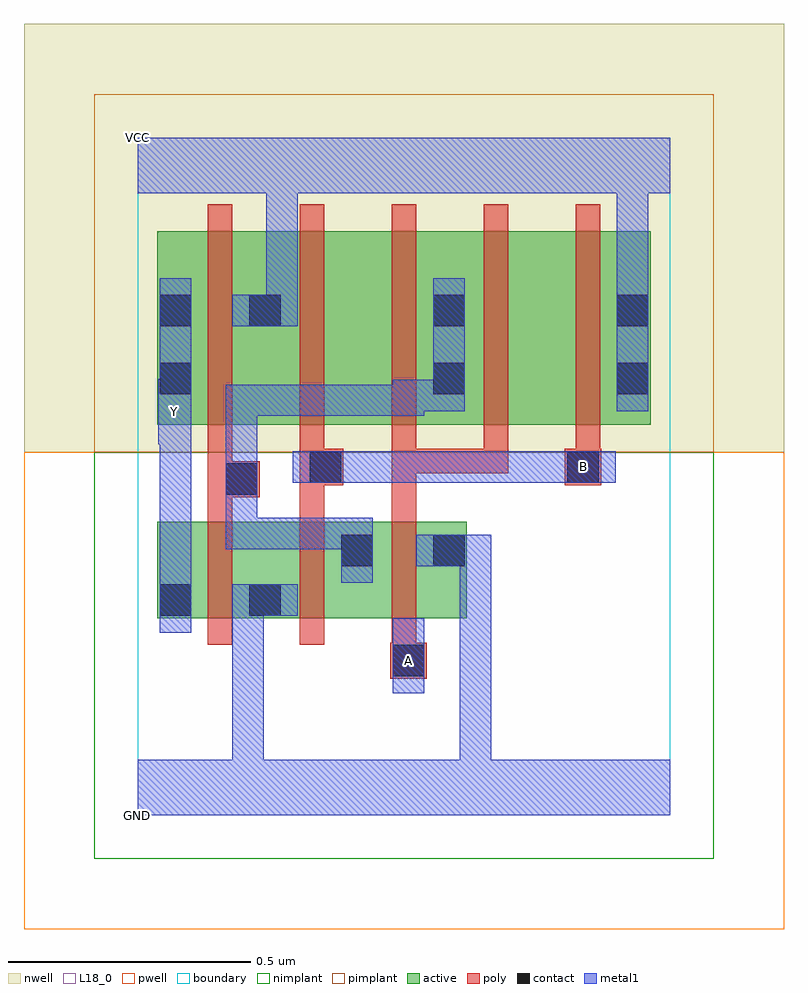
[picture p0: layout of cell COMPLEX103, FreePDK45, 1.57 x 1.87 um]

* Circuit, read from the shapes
.subckt COMPLEX103 A B GND VCC Y
M1 GND n1 Y VSUBS nfet w=0.2u l=0.05u
M2 n1 B GND VSUBS nfet w=0.2u l=0.05u
M3 GND A n1 VSUBS nfet w=0.2u l=0.05u
M4 VCC n1 Y n2 pfet w=0.4u l=0.05u
M5 n3 B VCC n2 pfet w=0.4u l=0.05u
M6 n1 A n3 n2 pfet w=0.4u l=0.05u
M7 n4 A n1 n2 pfet w=0.4u l=0.05u
M8 VCC B n4 n2 pfet w=0.4u l=0.05u
.ends

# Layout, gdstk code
import gdstk
lib = gdstk.Library(unit=1e-6, precision=1e-09)
def R(c, l, rs):  # rectangles x0, y0, x1, y1
    for r in rs: c.add(gdstk.rectangle(r[:2], r[2:], *l))
def A(c, l, x, y, w, h, nx, ny, dx, dy):  # array of equal rectangles
    R(c, l, [(x+i*dx, y+j*dy, x+i*dx+w, y+j*dy+h) for i in range(nx) for j in range(ny)])
active = (1, 0)
pwell = (2, 0)
nwell = (3, 0)
nimplant = (4, 0)
pimplant = (5, 0)
poly = (9, 0)
contact = (10, 0)
metal1 = (11, 0)
L18_0 = (18, 0)
boundary = (235, 0)

complex103 = lib.new_cell('COMPLEX103')
R(complex103, active, [(0.04,0.407,0.115,0.607), (0.04,0.407,0.3,0.607), (0.225,0.407,0.49,0.607), (0.225,0.407,0.3,0.597), (0.415,0.407,0.49,0.607), (0.415,0.407,0.68,0.607), (0.605,0.407,0.68,0.607), (0.04,0.807,0.115,1.2), (0.04,0.807,0.3,1.207), (0.225,0.807,0.3,1.207), (0.225,0.807,0.455,1.207), (0.455,0.807,0.68,1.207), (0.605,0.807,0.835,1.207), (0.605,0.807,0.68,1.2), (0.835,0.807,1.06,1.207), (0.985,0.807,1.06,1.207)])
R(complex103, pwell, [(-0.235,-0.235,1.335,0.75)])
R(complex103, nwell, [(-0.235,0.75,1.335,1.635)])
R(complex103, nimplant, [(-0.09,-0.09,1.19,0.75)])
R(complex103, pimplant, [(-0.09,0.75,1.19,1.49)])
A(complex103, poly, 0.145, 0.352, 0.05, 0.31, 3, 1, 0.19, 0)
A(complex103, poly, 0.335, 0.707, 0.05, 0.095, 4, 1, 0.19, 0)
A(complex103, poly, 0.145, 0.752, 0.05, 0.51, 5, 1, 0.19, 0)
R(complex103, poly, [(0.522,0.282,0.597,0.357), (0.525,0.307,0.575,0.402), (0.145,0.612,0.195,0.707), (0.335,0.612,0.385,0.732), (0.525,0.612,0.575,0.757), (0.145,0.657,0.252,0.732), (0.145,0.682,0.195,0.802), (0.335,0.682,0.425,0.757), (0.882,0.682,0.957,0.757), (0.525,0.707,0.765,0.757), (0.525,0.707,0.575,0.757), (0.525,0.707,0.575,0.757), (0.525,0.707,0.575,0.757), (0.715,0.707,0.765,0.757)])
A(complex103, contact, 0.23, 1.01, 0.065, 0.065, 3, 1, 0.38, 0)
R(complex103, contact, [(0.527,0.287,0.592,0.352), (0.045,0.412,0.11,0.477), (0.23,0.412,0.295,0.477), (0.42,0.515,0.485,0.58), (0.61,0.515,0.675,0.58), (0.182,0.662,0.247,0.727), (0.355,0.687,0.42,0.752), (0.887,0.687,0.952,0.752), (0.045,0.87,0.11,0.935), (0.61,0.87,0.675,0.935), (0.99,0.87,1.055,0.935), (0.045,1.01,0.11,1.075)])
R(complex103, metal1, [(0,0,1.1,0.115), (0.195,0.05,0.26,0.115), (0.195,0.05,0.26,0.115), (0.195,0.05,0.26,0.115), (0.195,0.05,0.26,0.115), (0.195,0.05,0.26,0.115), (0.195,0.05,0.26,0.115), (0.195,0.05,0.26,0.477), (0.665,0.05,0.73,0.115), (0.665,0.05,0.73,0.115), (0.665,0.05,0.73,0.477), (0.527,0.252,0.592,0.407), (0.045,0.377,0.11,0.512), (0.195,0.412,0.33,0.477), (0.665,0.412,0.73,0.477), (0.665,0.412,0.73,0.477), (0.665,0.412,0.73,0.477), (0.665,0.412,0.73,0.58), (0.045,0.447,0.11,0.832), (0.42,0.48,0.485,0.615), (0.575,0.515,0.73,0.58), (0.182,0.55,0.247,0.615), (0.182,0.55,0.397,0.615), (0.182,0.55,0.247,0.692), (0.332,0.55,0.397,0.615), (0.332,0.55,0.485,0.615), (0.182,0.627,0.247,0.692), (0.182,0.627,0.247,0.692), (0.182,0.627,0.247,0.762), (0.182,0.627,0.247,0.89), (0.32,0.687,0.455,0.752), (0.39,0.687,0.455,0.752), (0.39,0.687,0.455,0.752), (0.39,0.687,0.592,0.752), (0.527,0.687,0.592,0.752), (0.527,0.687,0.592,0.752), (0.527,0.687,0.592,0.752), (0.527,0.687,0.73,0.752), (0.665,0.687,0.917,0.752), (0.665,0.687,0.73,0.752), (0.665,0.687,0.73,0.752), (0.665,0.687,0.73,0.752), (0.852,0.687,0.987,0.752), (0.042,0.767,0.11,0.902), (0.182,0.825,0.247,0.89), (0.182,0.825,0.455,0.89), (0.39,0.825,0.455,0.89), (0.39,0.825,0.455,0.89), (0.39,0.825,0.455,0.89), (0.39,0.825,0.592,0.89), (0.527,0.825,0.592,0.9), (0.045,0.835,0.11,1.11), (0.045,0.835,0.11,0.9), (0.527,0.835,0.675,0.9), (0.61,0.835,0.675,1.11), (0.99,0.835,1.055,1.11), (0.195,1.01,0.33,1.075), (0.265,1.01,0.33,1.35), (0.99,1.045,1.055,1.35), (0,1.285,1.1,1.4)])
R(complex103, L18_0, [(0,0,1.1,0.115), (0.195,0.05,0.26,0.115), (0.195,0.05,0.26,0.115), (0.195,0.05,0.26,0.115), (0.195,0.05,0.26,0.115), (0.195,0.05,0.26,0.115), (0.195,0.05,0.26,0.115), (0.195,0.05,0.26,0.477), (0.665,0.05,0.73,0.115), (0.665,0.05,0.73,0.115), (0.665,0.05,0.73,0.477), (0.527,0.252,0.592,0.407), (0.527,0.287,0.592,0.352), (0.045,0.377,0.11,0.512), (0.195,0.412,0.33,0.477), (0.665,0.412,0.73,0.477), (0.665,0.412,0.73,0.477), (0.665,0.412,0.73,0.477), (0.665,0.412,0.73,0.58), (0.045,0.447,0.11,0.832), (0.575,0.515,0.73,0.58), (0.32,0.687,0.455,0.752), (0.39,0.687,0.455,0.752), (0.39,0.687,0.455,0.752), (0.39,0.687,0.592,0.752), (0.527,0.687,0.592,0.752), (0.527,0.687,0.592,0.752), (0.527,0.687,0.592,0.752), (0.527,0.687,0.73,0.752), (0.665,0.687,0.73,0.752), (0.665,0.687,0.73,0.752), (0.665,0.687,0.73,0.752), (0.665,0.687,0.917,0.752), (0.852,0.687,0.987,0.752), (0.887,0.687,0.952,0.752), (0.042,0.767,0.11,0.902), (0.042,0.802,0.107,0.867), (0.045,0.835,0.11,1.11), (0.045,0.835,0.11,0.9), (0.99,0.835,1.055,1.11), (0.195,1.01,0.33,1.075), (0.265,1.01,0.33,1.35), (0.99,1.045,1.055,1.35), (0,1.285,1.1,1.4)])
R(complex103, boundary, [(0,0,1.1,1.4)])
complex103.add(gdstk.Label('A', (0.56,0.32), layer=11, texttype=0))
complex103.add(gdstk.Label('B', (0.92,0.72), layer=11, texttype=0))
complex103.add(gdstk.Label('Y', (0.075,0.835), layer=11, texttype=0))
complex103.add(gdstk.Label('VCC', (0,1.4), layer=11, texttype=0))
complex103.add(gdstk.Label('GND', (0,0), layer=11, texttype=0))

lib.write_gds('COMPLEX103.gds')
